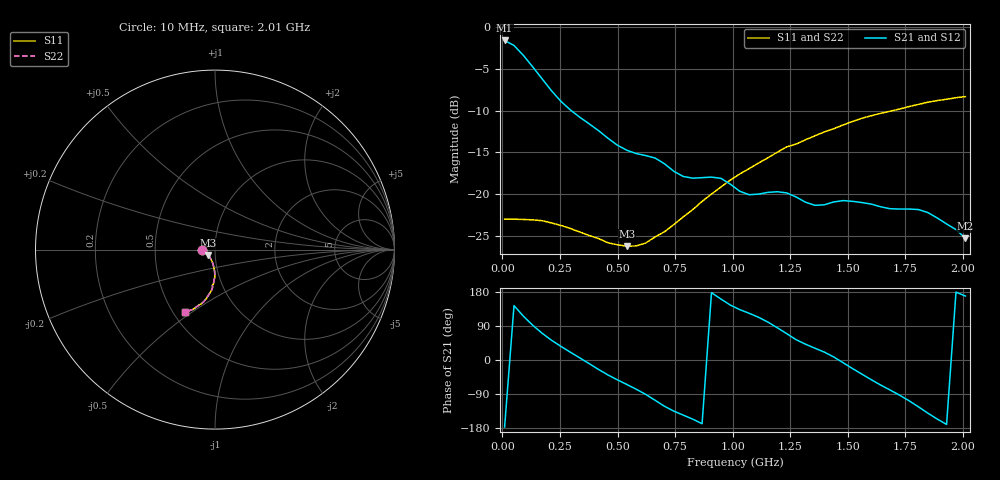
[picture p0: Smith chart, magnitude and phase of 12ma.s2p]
# MHz S MA R 50
!  freq  S11  S21  S12  S22
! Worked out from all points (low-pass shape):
!   50 points, 10 MHz to 2.01 GHz, reference 50 ohm
!   highest |S21| = -1.58 dB at 10 MHz (marker M1); lowest = -25.3 dB at 2.01 GHz (marker M2)
!   |S21| within 3 dB of the highest: start of sweep to 127.1 MHz
!   lowest |S11| = -26.2 dB at 540.6 MHz (marker M3), VSWR 1.10, Z = 46.3 - j2.84 ohm
!   |S11| at or under -10 dB: start of sweep to 1.693 GHz
!   |S22| runs from -26.3 to -8.3 dB; largest |S21 - S12| = 0.00085
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10  0.07093 -180.0  0.834 -176.8  0.8332 -176.8  0.07079 -180.0
50.81633  0.07076 -178.4  0.7782 143.6  0.7778 143.6  0.07066 -178.2
91.63265  0.07054 -177.3  0.6784 115.5  0.6782 115.6  0.07073 -177.1
132.449  0.07015 -176.3  0.5781 91.4  0.5786 91.4  0.07013 -176.2
173.2653  0.06934 -175.0  0.4901 70.4  0.4903 70.4  0.06958 -175.2
214.0816  0.06718 -173.9  0.4158 51.9  0.4157 51.9  0.0671 -173.8
295.7143  0.06222 -170.5  0.3194 20.4  0.3195 20.5  0.06242 -170.4
377.3469  0.05648 -164.4  0.2637 -9.7  0.2636 -9.7  0.05654 -164.3
458.9796  0.0511 -154.5  0.2161 -39.5  0.2158 -39.6  0.05108 -154.6
540.6122  0.04878 -141.0  0.1833 -64.6  0.1834 -64.6  0.04881 -141.2
622.2449  0.05093 -125.4  0.1704 -90.7  0.1703 -90.8  0.05068 -125.3
703.8776  0.05948 -111.2  0.1521 -122.1  0.1522 -122.1  0.05962 -111.1
785.5102  0.07312 -101.0  0.1277 -145.5  0.1277 -145.5  0.07322 -101.4
907.9592  0.1002 -93.7  0.1265 177.6  0.1268 177.6  0.1002 -93.6
948.7755  0.1104 -92.2  0.1244 160.9  0.1244 160.9  0.1106 -92.3
1030.408  0.1321 -90.7  0.1041 133.0  0.1038 132.9  0.1318 -90.7
1234.49  0.1921 -92.7  0.1017 69.5  0.1017 69.5  0.1922 -92.7
1356.939  0.2237 -94.6  0.08572 31.1  0.08583 31.2  0.2241 -94.6
1520.204  0.2727 -99.7  0.09056 -22.7  0.09045 -22.6  0.2727 -99.7
1683.469  0.314 -104.6  0.08178 -79.3  0.08171 -79.4  0.3139 -104.8
1846.735  0.3556 -110.4  0.07761 -140.1  0.07756 -140.0  0.3557 -110.4
2010  0.3844 -115.9  0.0544 168.8  0.05419 168.6  0.3842 -115.8
